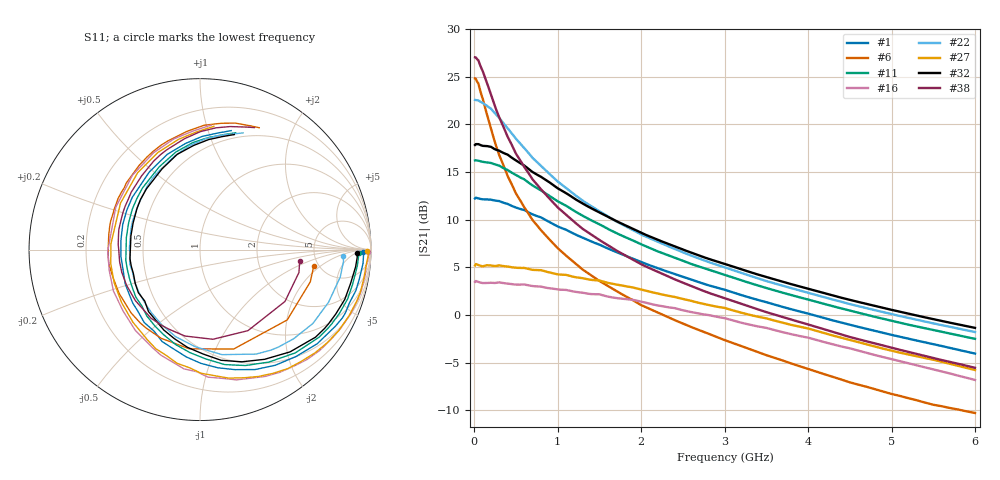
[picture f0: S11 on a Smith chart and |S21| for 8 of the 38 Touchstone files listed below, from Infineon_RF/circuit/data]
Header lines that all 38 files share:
! Infineon Technologies  Discrete & RF Semiconductors
! BFP181
! Common Emitter S-Parameters:  Jan 2016
# GHz  S  MA  R  50
!  f  S11  S21  S12  S22
! GHz  MAG  ANG  MAG  ANG  MAG  ANG  MAG  ANG
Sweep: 10 MHz to 6 GHz
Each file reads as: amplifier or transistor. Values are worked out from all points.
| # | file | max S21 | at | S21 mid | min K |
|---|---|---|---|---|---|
| 1 | BFP181_VCE_0.50V_IC_1.2mA.s2p | 12.3 dB | 20 MHz | 7.3 dB at 1.52 GHz | -0.03 |
| 2 | BFP181_VCE_0.50V_IC_1.5mA.s2p | 14.0 dB | 20 MHz | 8.0 dB at 1.52 GHz | 0.03 |
| 3 | BFP181_VCE_0.50V_IC_4.0mA.s2p | 20.9 dB | 20 MHz | 8.3 dB at 1.52 GHz | 0.08 |
| 4 | BFP181_VCE_0.50V_IC_6.0mA.s2p | 23.0 dB | 10 MHz | 6.5 dB at 1.52 GHz | 0.18 |
| 5 | BFP181_VCE_0.50V_IC_8.0mA.s2p | 24.1 dB | 10 MHz | 4.8 dB at 1.52 GHz | 0.28 |
| 6 | BFP181_VCE_0.50V_IC_10mA.s2p | 24.8 dB | 10 MHz | 3.5 dB at 1.52 GHz | 0.38 |
| 7 | BFP181_VCE_0.50V_IC_17mA.s2p | 25.7 dB | 10 MHz | 0.2 dB at 1.52 GHz | 0.61 |
| 8 | BFP181_VCE_0.50V_IC_40mA.s2p | 3.5 dB | 20 MHz | 1.9 dB at 1.52 GHz | 0.01 |
| 9 | BFP181_VCE_0.75V_IC_1.0mA.s2p | 10.9 dB | 50 MHz | 7.0 dB at 1.52 GHz | -0.02 |
| 10 | BFP181_VCE_0.75V_IC_1.5mA.s2p | 14.0 dB | 50 MHz | 8.6 dB at 1.52 GHz | 0.00 |
| 11 | BFP181_VCE_0.75V_IC_2.0mA.s2p | 16.2 dB | 20 MHz | 9.4 dB at 1.52 GHz | 0.03 |
| 12 | BFP181_VCE_0.75V_IC_4.0mA.s2p | 21.1 dB | 20 MHz | 10.1 dB at 1.52 GHz | 0.08 |
| 13 | BFP181_VCE_0.75V_IC_12mA.s2p | 25.8 dB | 10 MHz | 5.2 dB at 1.52 GHz | 0.42 |
| 14 | BFP181_VCE_0.75V_IC_17mA.s2p | 26.4 dB | 10 MHz | 3.0 dB at 1.52 GHz | 0.61 |
| 15 | BFP181_VCE_0.75V_IC_20mA.s2p | 26.5 dB | 10 MHz | 2.0 dB at 1.52 GHz | 0.70 |
| 16 | BFP181_VCE_0.75V_IC_40mA.s2p | 3.6 dB | 20 MHz | 2.1 dB at 1.52 GHz | 0.01 |
| 17 | BFP181_VCE_0.75V_IC_60mA.s2p | 6.8 dB | 50 MHz | 4.4 dB at 1.52 GHz | -0.02 |
| 18 | BFP181_VCE_0.75V_IC_90mA.s2p | 10.0 dB | 50 MHz | 6.6 dB at 1.52 GHz | -0.02 |
| 19 | BFP181_VCE_1.0V_IC_2.0mA.s2p | 16.2 dB | 20 MHz | 9.8 dB at 1.52 GHz | 0.00 |
| 20 | BFP181_VCE_1.0V_IC_2.5mA.s2p | 17.9 dB | 10 MHz | 10.3 dB at 1.52 GHz | 0.01 |
| 21 | BFP181_VCE_1.0V_IC_4.0mA.s2p | 21.2 dB | 20 MHz | 10.8 dB at 1.52 GHz | 0.03 |
| 22 | BFP181_VCE_1.0V_IC_5.0mA.s2p | 22.5 dB | 10 MHz | 10.8 dB at 1.52 GHz | 0.05 |
| 23 | BFP181_VCE_1.0V_IC_8.0mA.s2p | 24.9 dB | 20 MHz | 9.4 dB at 1.52 GHz | 0.17 |
| 24 | BFP181_VCE_1.0V_IC_12mA.s2p | 26.1 dB | 10 MHz | 6.9 dB at 1.52 GHz | 0.36 |
| 25 | BFP181_VCE_1.0V_IC_15mA.s2p | 26.5 dB | 10 MHz | 5.5 dB at 1.52 GHz | 0.49 |
| 26 | BFP181_VCE_1.0V_IC_40mA.s2p | 3.5 dB | 20 MHz | 2.2 dB at 1.52 GHz | -0.04 |
| 27 | BFP181_VCE_1.0V_IC_50mA.s2p | 5.3 dB | 20 MHz | 3.6 dB at 1.52 GHz | -0.04 |
| 28 | BFP181_VCE_1.0V_IC_60mA.s2p | 6.8 dB | 50 MHz | 4.6 dB at 1.52 GHz | 0.00 |
| 29 | BFP181_VCE_1.0V_IC_70mA.s2p | 8.0 dB | 20 MHz | 5.5 dB at 1.52 GHz | -0.03 |
| 30 | BFP181_VCE_1.0V_IC_80mA.s2p | 9.0 dB | 10 MHz | 6.1 dB at 1.52 GHz | -0.05 |
| 31 | BFP181_VCE_1.0V_IC_90mA.s2p | 10.0 dB | 50 MHz | 6.7 dB at 1.52 GHz | 0.00 |
| 32 | BFP181_VCE_1.5V_IC_2.5mA.s2p | 17.9 dB | 20 MHz | 10.7 dB at 1.52 GHz | -0.01 |
| 33 | BFP181_VCE_1.5V_IC_3.0mA.s2p | 19.2 dB | 10 MHz | 11.0 dB at 1.52 GHz | 0.03 |
| 34 | BFP181_VCE_1.5V_IC_4.0mA.s2p | 21.2 dB | 20 MHz | 11.4 dB at 1.52 GHz | 0.06 |
| 35 | BFP181_VCE_1.5V_IC_6.0mA.s2p | 23.7 dB | 10 MHz | 11.6 dB at 1.52 GHz | 0.04 |
| 36 | BFP181_VCE_1.5V_IC_8.0mA.s2p | 25.2 dB | 20 MHz | 11.1 dB at 1.52 GHz | 0.08 |
| 37 | BFP181_VCE_1.5V_IC_10mA.s2p | 26.1 dB | 20 MHz | 10.2 dB at 1.52 GHz | 0.16 |
| 38 | BFP181_VCE_1.5V_IC_15mA.s2p | 27.0 dB | 10 MHz | 7.7 dB at 1.52 GHz | 0.38 |

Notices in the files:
2_Circuitos/LNA/simulaciones/Infineon_RF/circuit/data/BFP181_VCE_0.50V_IC_1.2mA.s2p:
(c) 2016  Infineon Technologies AG, Munich
